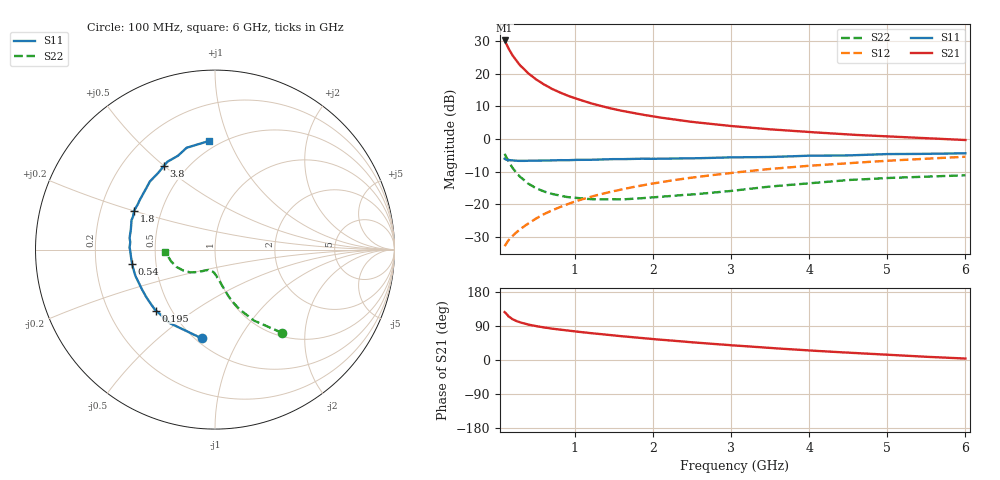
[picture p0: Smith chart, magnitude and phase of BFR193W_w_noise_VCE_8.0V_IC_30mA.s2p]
! Infineon Technologies  Discrete & RF Semiconductors
! BFR193W
! VCE =  8.0 V,  IC =  30 mA
! Common Emitter S-Parameters:  Nov 2015
# GHz  S  MA  R  50
!  f  S11  S21  S12  S22
! GHz  MAG  ANG  MAG  ANG  MAG  ANG  MAG  ANG
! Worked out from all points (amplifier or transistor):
!   192 points, 100 MHz to 6 GHz, reference 50 ohm
!   highest |S21| = 30.2 dB at 100 MHz (marker M1)
!   |S21| within 3 dB of that: start of sweep to 163.5 MHz
!   unconditionally stable (mu >= 1): 691.8 MHz to 2.602 GHz
!   at 440 MHz: K = 0.92, MSG = 22.4 dB, |S12| = -25.3 dB
!   at 1.7 GHz: K = 1.03, MAG = 10.6 dB, |S12| = -14.9 dB
!   at 6 GHz: K = 0.91, MSG = 2.6 dB, |S12| = -5.4 dB
!   lowest NFmin = 1.90 dB at 450 MHz
!   S11 on the Smith chart (normalised r, x): 100 MHz: 0.54, -0.71; 195 MHz: 0.41, -0.36; 540 MHz: 0.36, -0.07; 1.8 GHz: 0.35, +0.20; 3.8 GHz: 0.38, +0.50; 6 GHz: 0.44, +0.84
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0.1  0.5003 -98.4  32.37 126.4  0.0229 59.3  0.5961 -51.1
0.15  0.4808 -121.5  24.33 115.0  0.0282 57.9  0.4528 -61.1
0.195  0.4725 -133.9  19.72 108.6  0.0322 58.4  0.373 -66.5
0.2  0.473 -135.3  19.23 107.7  0.0327 58.4  0.3644 -67.3
0.24  0.4666 -142.7  16.47 103.9  0.0363 59.7  0.3145 -70.8
0.26  0.4651 -146.0  15.31 102.1  0.0381 60.4  0.2944 -72.2
0.3  0.4632 -151.7  13.38 99.0  0.0416 61.8  0.263 -74.3
0.4  0.4669 -161.8  10.19 93.5  0.0506 64.5  0.2086 -78.6
0.5  0.4684 -168.2  8.235 89.4  0.0604 66.7  0.1771 -81.6
0.54  0.4683 -170.4  7.7 88.2  0.0644 67.2  0.1693 -82.9
0.6  0.4695 -173.6  6.906 86.0  0.0705 67.8  0.1578 -85.0
0.7  0.4706 -177.7  5.925 82.9  0.0801 68.7  0.145 -87.2
0.8  0.4762 178.5  5.219 80.2  0.0899 69.2  0.1371 -89.8
1.1  0.4805 169.5  3.875 73.2  0.1202 69.1  0.123 -96.5
1.4  0.4896 162.1  3.059 66.8  0.15 68.1  0.1193 -103.4
1.8  0.5001 154.3  2.437 59.0  0.1895 66.0  0.1228 -111.6
2.08  0.4999 148.5  2.15 53.9  0.2166 64.1  0.13 -116.0
3.1  0.5257 132.2  1.547 37.6  0.3118 56.3  0.1657 -130.7
3.8  0.5456 121.6  1.332 27.8  0.3732 50.3  0.2008 -142.8
4.1  0.5571 117.1  1.26 24.0  0.3972 47.8  0.2149 -148.1
5.1  0.5894 104.3  1.085 12.9  0.4724 39.8  0.2555 -166.8
6  0.6063 93.2  0.967 3.8  0.5358 32.4  0.2781 -177.4
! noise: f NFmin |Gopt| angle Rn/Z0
0.45  1.9  0.4  180  0.09
0.9  1.95  0.43  -173  0.11
1.8  2.4  0.58  -144  0.24
